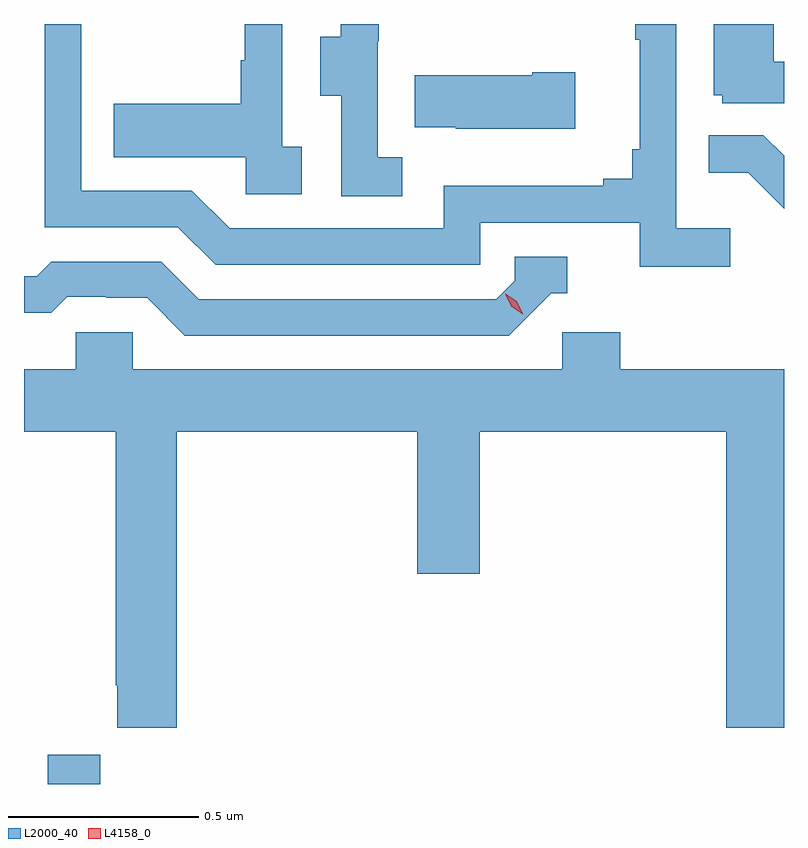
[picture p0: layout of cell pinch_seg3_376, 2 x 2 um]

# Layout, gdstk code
import gdstk
lib = gdstk.Library(unit=1e-6, precision=1e-09)
def R(c, l, rs):  # rectangles x0, y0, x1, y1
    for r in rs: c.add(gdstk.rectangle(r[:2], r[2:], *l))
def P(c, l, *ps):  # polygons
    for p in ps: c.add(gdstk.Polygon(p, *l))
L2000_40 = (2000, 40)
L4158_0 = (4158, 0)

pinch_seg3_376 = lib.new_cell('pinch_seg3_376')
R(pinch_seg3_376, L2000_40, [(991.208,705.317,991.345,705.394)])
P(pinch_seg3_376, L2000_40, [(993.004,706.78),(992.862,706.78),(992.862,707.317),(992.754,707.317),(992.754,707.275),(992.765,707.275),(992.765,706.987),(992.746,706.987),(992.746,706.91),(992.669,706.91),(992.669,706.891),(992.25,706.891),(992.25,706.779),(991.686,706.779),(991.587,706.878),(991.296,706.878),(991.296,707.317),(991.2,707.317),(991.2,706.782),(991.55,706.782),(991.649,706.683),(992.346,706.683),(992.346,706.794),(992.765,706.794),(992.765,706.678),(993.004,706.678)],
  [(993.145,707.218),(993.118,707.218),(993.118,707.317),(992.96,707.317),(992.96,707.13),(992.982,707.13),(992.982,707.109),(993.145,707.109)],
  [(992.14,706.967),(992.076,706.967),(992.076,707.271),(992.078,707.271),(992.078,707.317),(991.979,707.317),(991.979,707.283),(991.925,707.283),(991.925,707.128),(991.98,707.128),(991.98,706.864),(992.14,706.864)],
  [(991.876,706.994),(991.824,706.994),(991.824,707.317),(991.726,707.317),(991.726,707.222),(991.716,707.222),(991.716,707.107),(991.381,707.107),(991.381,706.967),(991.728,706.967),(991.728,706.869),(991.876,706.869)],
  [(992.596,707.19),(992.483,707.19),(992.483,707.182),(992.173,707.182),(992.173,707.045),(992.281,707.045),(992.281,707.042),(992.596,707.042)],
  [(993.145,706.97),(993.091,707.024),(992.947,707.024),(992.947,706.925),(993.051,706.925),(993.145,706.831)],
  [(992.532,706.608),(992.575,706.608),(992.575,706.704),(992.436,706.704),(992.436,706.641),(992.388,706.593),(991.605,706.593),(991.506,706.692),(991.217,706.692),(991.178,706.653),(991.145,706.653),(991.145,706.557),(991.217,706.557),(991.259,706.599),(991.362,706.599),(991.362,706.596),(991.469,706.596),(991.568,706.497),(992.421,706.497)],
  [(991.547,706.244),(992.18,706.244),(992.18,705.87),(992.344,705.87),(992.344,706.244),(992.993,706.244),(992.993,705.465),(993.145,705.465),(993.145,706.408),(992.714,706.408),(992.714,706.506),(992.562,706.506),(992.562,706.408),(991.431,706.408),(991.431,706.506),(991.281,706.506),(991.281,706.408),(991.145,706.408),(991.145,706.244),(991.387,706.244),(991.387,705.577),(991.391,705.577),(991.391,705.465),(991.547,705.465)])
P(pinch_seg3_376, L4158_0, [(992.457,706.553),(992.427,706.574),(992.412,706.607),(992.412,706.607),(992.412,706.607),(992.442,706.587),(992.458,706.554),(992.458,706.553)])

lib.write_gds('pinch_seg3_376.gds')
